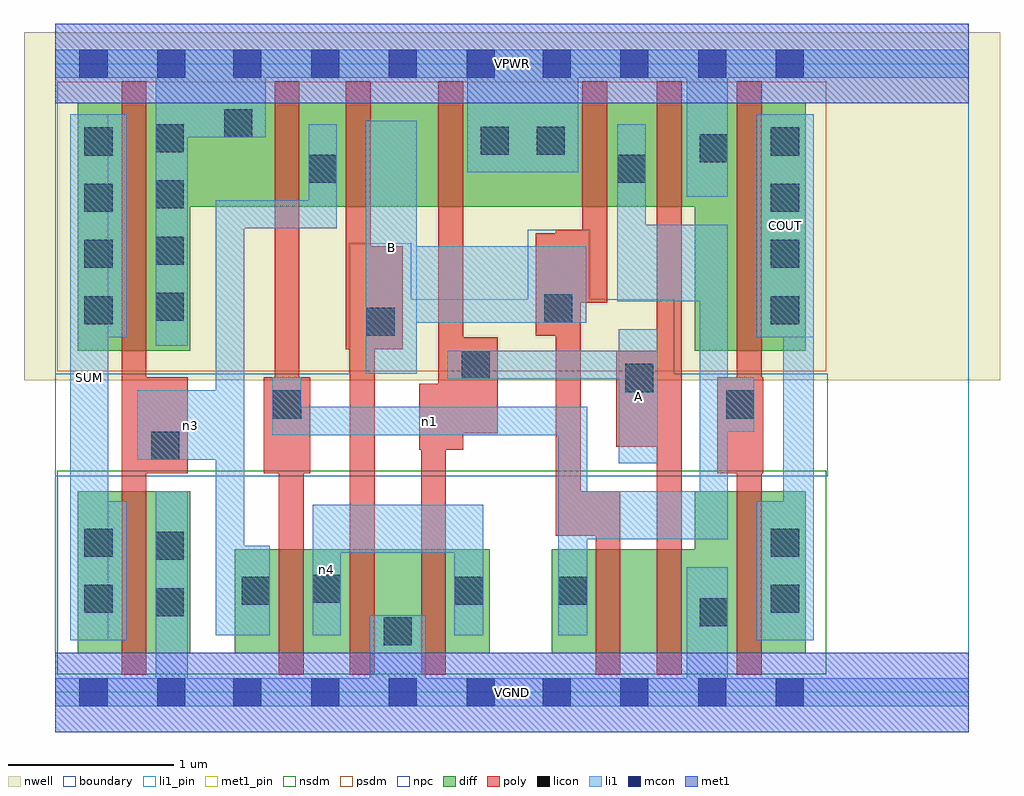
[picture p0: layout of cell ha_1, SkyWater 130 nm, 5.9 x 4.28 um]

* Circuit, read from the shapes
.subckt ha_1 A B COUT SUM VGND VPWR n1 n3 n4
XM1 VGND n3 SUM VSUBS sky130_fd_pr__nfet_01v8 w=0.98 l=0.15
XM2 n4 n1 n3 VSUBS sky130_fd_pr__nfet_01v8 w=0.63 l=0.15
XM3 VGND B n4 VSUBS sky130_fd_pr__nfet_01v8 w=0.63 l=0.15
XM4 n4 A VGND VSUBS sky130_fd_pr__nfet_01v8 w=0.63 l=0.15
XM5 n2 B n1 VSUBS sky130_fd_pr__nfet_01v8 w=0.63 l=0.15
XM6 VGND A n2 VSUBS sky130_fd_pr__nfet_01v8 w=0.63 l=0.15
XM7 COUT n1 VGND VSUBS sky130_fd_pr__nfet_01v8 w=0.98 l=0.15
XM8 VPWR n3 SUM n5 sky130_fd_pr__pfet_01v8 w=1.5 l=0.15
XM9 n3 n1 VPWR n5 sky130_fd_pr__pfet_01v8 w=0.63 l=0.15
XM10 n6 B n3 n5 sky130_fd_pr__pfet_01v8 w=0.63 l=0.15
XM11 VPWR A n6 n5 sky130_fd_pr__pfet_01v8 w=0.63 l=0.15
XM12 n1 B VPWR n5 sky130_fd_pr__pfet_01v8 w=0.63 l=0.15
XM13 VPWR A n1 n5 sky130_fd_pr__pfet_01v8 w=0.63 l=0.15
XM14 COUT n1 VPWR n5 sky130_fd_pr__pfet_01v8 w=1.5 l=0.15
.ends

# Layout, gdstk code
import gdstk
lib = gdstk.Library(unit=1e-6, precision=1e-09)
def R(c, l, rs):  # rectangles x0, y0, x1, y1
    for r in rs: c.add(gdstk.rectangle(r[:2], r[2:], *l))
def A(c, l, x, y, w, h, nx, ny, dx, dy):  # array of equal rectangles
    R(c, l, [(x+i*dx, y+j*dy, x+i*dx+w, y+j*dy+h) for i in range(nx) for j in range(ny)])
nwell = (64, 20)
diff = (65, 20)
poly = (66, 20)
licon = (66, 44)
li1_pin = (67, 16)
li1 = (67, 20)
mcon = (67, 44)
met1_pin = (68, 16)
met1 = (68, 20)
nsdm = (93, 44)
psdm = (94, 20)
npc = (95, 20)
boundary = (235, 4)

ha_1 = lib.new_cell('ha_1')
R(ha_1, nwell, [(-0.19,1.885,5.71,3.99), (0,1.885,5.52,3.99)])
R(ha_1, diff, [(0.135,0.235,0.815,1.215), (1.085,0.235,2.625,0.865), (3,0.235,4.535,0.865), (3.865,0.235,4.535,1.215), (0.135,2.065,0.815,3.565), (3.865,2.065,4.535,3.565), (0.135,2.935,4.535,3.565)])
R(ha_1, poly, [(0.4,0.105,0.55,3.695), (1.35,0.105,1.5,1.905), (1.78,0.105,1.93,2.695), (2.21,0.105,2.36,1.865), (3.265,0.105,3.415,1.215), (3.635,0.105,3.785,3.695), (4.12,0.105,4.27,3.695), (3.025,0.945,3.175,2.795), (3.025,0.945,3.415,1.215), (0.4,1.325,0.8,1.905), (1.26,1.325,1.54,1.905), (1.325,1.325,1.475,3.695), (4,1.325,4.28,1.905), (2.2,1.465,2.465,1.865), (2.315,1.465,2.465,3.695), (3.39,1.485,3.785,2.065), (2.315,1.565,2.675,2.145), (1.755,2.075,1.905,3.695), (1.755,2.075,2.1,2.695), (2.905,2.155,3.175,2.775), (3.025,2.355,3.335,2.795), (3.185,2.355,3.335,3.695)])
A(ha_1, licon, 0.175, 2.225, 0.17, 0.17, 1, 4, 0, 0.34)
A(ha_1, licon, 4.325, 2.225, 0.17, 0.17, 1, 4, 0, 0.34)
A(ha_1, licon, 0.605, 2.245, 0.17, 0.17, 1, 4, 0, 0.34)
R(ha_1, licon, [(1.985,0.285,2.155,0.455), (3.895,0.4,4.065,0.57), (0.605,0.46,0.775,0.63), (0.175,0.48,0.345,0.65), (4.325,0.48,4.495,0.65), (1.125,0.53,1.295,0.7), (2.415,0.53,2.585,0.7), (3.04,0.53,3.21,0.7), (1.555,0.54,1.725,0.71), (0.605,0.8,0.775,0.97), (0.175,0.82,0.345,0.99), (4.325,0.82,4.495,0.99), (0.58,1.405,0.75,1.575), (1.315,1.655,1.485,1.825), (4.055,1.655,4.225,1.825), (3.445,1.815,3.615,1.985), (2.455,1.895,2.625,2.065), (1.88,2.155,2.05,2.325), (2.955,2.235,3.125,2.405), (1.53,3.08,1.7,3.25), (3.4,3.08,3.57,3.25), (3.895,3.205,4.065,3.375), (2.57,3.25,2.74,3.42), (2.91,3.25,3.08,3.42), (1.02,3.355,1.19,3.525)])
R(ha_1, li1_pin, [(0.09,0.315,0.32,3.495), (3.405,1.385,3.64,2.195), (1.875,1.925,2.185,3.455), (4.24,2.145,4.585,3.495)])
R(ha_1, li1, [(0,-0.085,5.52,0.085), (0.605,-0.085,0.8,1.215), (1.9,-0.085,2.24,0.465), (3.815,-0.085,4.065,0.755), (0.09,0.315,0.32,3.495), (0.09,0.315,0.43,1.155), (4.24,0.315,4.585,1.155), (4.4,0.315,4.585,3.495), (0.97,0.345,1.14,2.975), (0.97,0.345,1.295,0.885), (1.555,0.345,1.725,1.135), (2.41,0.345,2.585,1.135), (3.04,0.345,3.215,1.725), (1.555,0.845,2.585,1.135), (3.04,0.925,4.065,1.215), (3.895,0.925,4.065,2.825), (3.405,1.385,3.64,2.195), (0.495,1.405,1.14,1.825), (1.31,1.555,3.215,1.725), (1.31,1.555,1.485,1.905), (3.895,1.575,4.225,1.905), (2.37,1.895,3.64,2.065), (1.875,1.925,2.185,3.455), (0.605,2.095,0.8,3.885), (0.09,2.145,0.43,3.495), (4.24,2.145,4.585,3.495), (1.875,2.235,3.21,2.695), (3.395,2.365,3.57,3.435), (3.395,2.365,4.065,2.825), (0.97,2.805,1.7,2.975), (1.53,2.805,1.7,3.435), (3.815,2.995,4.065,3.885), (2.49,3.145,3.16,3.885), (0.605,3.355,1.27,3.885), (0,3.715,5.52,3.885)])
A(ha_1, mcon, 1.075, -0.085, 0.17, 0.17, 4, 2, 0.47, 3.8)
A(ha_1, mcon, 2.945, -0.085, 0.17, 0.17, 4, 2, 0.47, 3.8)
R(ha_1, mcon, [(0.145,-0.085,0.315,0.085), (0.615,-0.085,0.785,0.085), (0.145,3.715,0.315,3.885), (0.615,3.715,0.785,3.885)])
R(ha_1, met1_pin, [(0,-0.24,5.52,0.24), (0,3.56,5.52,4.04)])
R(ha_1, met1, [(0,-0.24,5.52,0.24), (0,3.56,5.52,4.04)])
R(ha_1, nsdm, [(0.01,0.11,4.66,1.34)])
R(ha_1, psdm, [(0.01,1.94,4.66,3.69)])
R(ha_1, npc, [(0,1.305,4.67,1.925), (1.775,1.305,3.23,2.165), (1.775,1.305,2.15,2.715), (1.775,1.305,3.74,2.375), (2.855,1.305,3.23,2.795)])
R(ha_1, boundary, [(0,0,5.52,3.8)])
ha_1.add(gdstk.Label('A', (3.522,1.79), layer=67, texttype=5))
ha_1.add(gdstk.Label('B', (2.03,2.69), layer=67, texttype=5))
ha_1.add(gdstk.Label('COUT', (4.412,2.82), layer=67, texttype=5))
ha_1.add(gdstk.Label('SUM', (0.205,1.905), layer=67, texttype=5))
ha_1.add(gdstk.Label('n4', (1.64,0.74), layer=67, texttype=5))
ha_1.add(gdstk.Label('n3', (0.817,1.615), layer=67, texttype=5))
ha_1.add(gdstk.Label('n1', (2.262,1.64), layer=67, texttype=5))
ha_1.add(gdstk.Label('VPWR', (2.76,3.8), layer=68, texttype=5))
ha_1.add(gdstk.Label('VGND', (2.76,0), layer=68, texttype=5))
ha_1.add(gdstk.Label('A', (3.522,1.79), layer=67, texttype=16))
ha_1.add(gdstk.Label('B', (2.03,2.69), layer=67, texttype=16))
ha_1.add(gdstk.Label('COUT', (4.412,2.82), layer=67, texttype=16))
ha_1.add(gdstk.Label('SUM', (0.205,1.905), layer=67, texttype=16))
ha_1.add(gdstk.Label('VPWR', (2.76,3.8), layer=68, texttype=16))
ha_1.add(gdstk.Label('VGND', (2.76,0), layer=68, texttype=16))

lib.write_gds('ha_1.gds')
